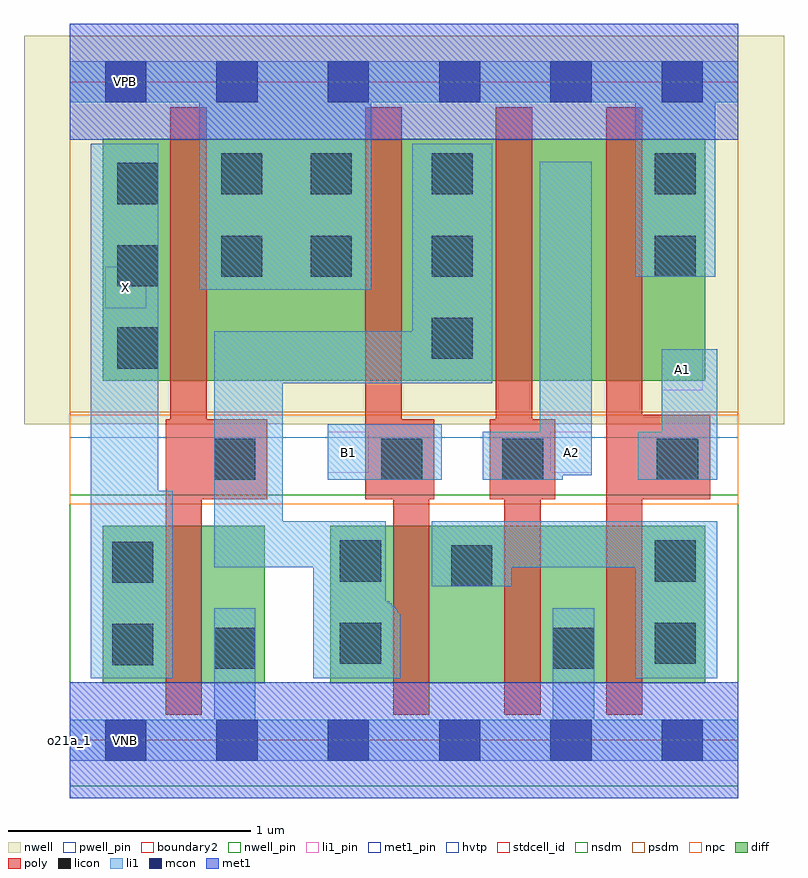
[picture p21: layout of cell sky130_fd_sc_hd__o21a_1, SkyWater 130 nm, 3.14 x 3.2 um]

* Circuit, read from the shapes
.subckt sky130_fd_sc_hd__o21a_1 A1 A2 B1 VGND VNB VPB VPWR X
XM1 VGND n1 X VNB sky130_fd_pr__nfet_01v8 w=0.65 l=0.15
XM2 n2 B1 n1 VNB sky130_fd_pr__nfet_01v8 w=0.65 l=0.15
XM3 VGND A2 n2 VNB sky130_fd_pr__nfet_01v8 w=0.65 l=0.15
XM4 n2 A1 VGND VNB sky130_fd_pr__nfet_01v8 w=0.65 l=0.15
XM5 VPWR n1 X VPB sky130_fd_pr__pfet_01v8_hvt w=1 l=0.15
XM6 n1 B1 VPWR VPB sky130_fd_pr__pfet_01v8_hvt w=1 l=0.15
XM7 n3 A2 n1 VPB sky130_fd_pr__pfet_01v8_hvt w=1 l=0.15
XM8 VPWR A1 n3 VPB sky130_fd_pr__pfet_01v8_hvt w=1 l=0.15
.ends

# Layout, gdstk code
import gdstk
lib = gdstk.Library(unit=1e-6, precision=1e-09)
def R(c, l, rs):  # rectangles x0, y0, x1, y1
    for r in rs: c.add(gdstk.rectangle(r[:2], r[2:], *l))
def A(c, l, x, y, w, h, nx, ny, dx, dy):  # array of equal rectangles
    R(c, l, [(x+i*dx, y+j*dy, x+i*dx+w, y+j*dy+h) for i in range(nx) for j in range(ny)])
def P(c, l, *ps):  # polygons
    for p in ps: c.add(gdstk.Polygon(p, *l))
nwell_pin = (64, 16)
nwell = (64, 20)
diff = (65, 20)
poly = (66, 20)
licon = (66, 44)
li1_pin = (67, 16)
li1 = (67, 20)
mcon = (67, 44)
met1_pin = (68, 16)
met1 = (68, 20)
hvtp = (78, 44)
stdcell_id = (81, 4)
nsdm = (93, 44)
psdm = (94, 20)
npc = (95, 20)
pwell_pin = (122, 16)
boundary2 = (236, 0)

sky130_fd_sc_hd__o21a_1 = lib.new_cell('sky130_fd_sc_hd__o21a_1')
R(sky130_fd_sc_hd__o21a_1, nwell_pin, [(0.145,2.635,0.315,2.805)])
R(sky130_fd_sc_hd__o21a_1, nwell, [(-0.19,1.305,2.95,2.91)])
R(sky130_fd_sc_hd__o21a_1, diff, [(0.135,0.235,0.805,0.885), (1.075,0.235,2.625,0.885), (0.135,1.485,2.625,2.485)])
P(sky130_fd_sc_hd__o21a_1, poly, [(0.815,1.325),(0.565,1.325),(0.565,2.615),(0.415,2.615),(0.415,1.325),(0.395,1.325),(0.395,0.105),(0.545,0.105),(0.545,0.995),(0.815,0.995)],
  [(1.505,1.325),(1.37,1.325),(1.37,2.615),(1.22,2.615),(1.22,0.995),(1.335,0.995),(1.335,0.105),(1.485,0.105),(1.485,0.995),(1.505,0.995)],
  [(2.005,1.325),(1.91,1.325),(1.91,2.615),(1.76,2.615),(1.76,1.325),(1.735,1.325),(1.735,0.995),(1.795,0.995),(1.795,0.105),(1.945,0.105),(1.945,0.995),(2.005,0.995)],
  [(2.645,1.345),(2.365,1.345),(2.365,2.615),(2.215,2.615),(2.215,0.105),(2.365,0.105),(2.365,0.995),(2.645,0.995)])
A(sky130_fd_sc_hd__o21a_1, licon, 0.195, 1.535, 0.17, 0.17, 1, 3, 0, 0.34)
A(sky130_fd_sc_hd__o21a_1, licon, 1.495, 1.575, 0.17, 0.17, 1, 3, 0, 0.34)
R(sky130_fd_sc_hd__o21a_1, licon, [(0.595,0.295,0.765,0.465), (1.995,0.295,2.165,0.465), (0.175,0.31,0.345,0.48), (1.115,0.315,1.285,0.485), (2.415,0.315,2.585,0.485), (1.575,0.635,1.745,0.805), (0.175,0.65,0.345,0.82), (1.115,0.655,1.285,0.825), (2.415,0.655,2.585,0.825), (0.595,1.075,0.765,1.245), (1.285,1.075,1.455,1.245), (1.785,1.075,1.955,1.245), (2.425,1.075,2.595,1.245), (0.625,1.915,0.795,2.085), (0.995,1.915,1.165,2.085), (2.415,1.915,2.585,2.085), (0.625,2.255,0.795,2.425), (0.995,2.255,1.165,2.425), (2.415,2.255,2.585,2.425)])
R(sky130_fd_sc_hd__o21a_1, li1_pin, [(1.065,1.105,1.235,1.275), (1.985,1.105,2.155,1.275), (2.445,1.445,2.615,1.615), (0.145,1.785,0.315,1.955)])
R(sky130_fd_sc_hd__o21a_1, li1, [(1.065,1.075,1.535,1.305)])
P(sky130_fd_sc_hd__o21a_1, li1, [(2.76,0.085),(2.165,0.085),(2.165,0.545),(1.995,0.545),(1.995,0.085),(0.765,0.085),(0.765,0.545),(0.595,0.545),(0.595,0.085),(0,0.085),(0,-0.085),(2.76,-0.085)],
  [(2.76,2.805),(0,2.805),(0,2.635),(0.535,2.635),(0.535,1.86),(1.245,1.86),(1.245,2.635),(2.335,2.635),(2.335,1.915),(2.665,1.915),(2.665,2.635),(2.76,2.635)],
  [(0.425,1.03),(0.365,1.03),(0.365,2.465),(0.085,2.465),(0.085,0.255),(0.425,0.255)],
  [(1.745,2.465),(1.415,2.465),(1.415,1.69),(0.595,1.69),(0.595,0.715),(1.005,0.715),(1.005,0.255),(1.365,0.255),(1.365,0.52),(1.36,0.52),(1.36,0.525),(1.355,0.525),(1.355,0.535),(1.35,0.535),(1.35,0.54),(1.345,0.54),(1.345,0.55),(1.34,0.55),(1.34,0.555),(1.33,0.555),(1.33,0.565),(1.32,0.565),(1.32,0.575),(1.305,0.575),(1.305,0.905),(0.88,0.905),(0.88,1.475),(1.745,1.475)],
  [(2.155,2.39),(1.94,2.39),(1.94,1.275),(1.705,1.275),(1.705,1.075),(2.035,1.075),(2.035,1.095),(2.155,1.095)],
  [(2.675,1.615),(2.445,1.615),(2.445,1.275),(2.345,1.275),(2.345,1.075),(2.675,1.075)],
  [(2.675,0.905),(1.495,0.905),(1.495,0.635),(1.825,0.635),(1.825,0.715),(2.335,0.715),(2.335,0.255),(2.675,0.255)])
A(sky130_fd_sc_hd__o21a_1, mcon, 0.145, -0.085, 0.17, 0.17, 6, 2, 0.46, 2.72)
R(sky130_fd_sc_hd__o21a_1, met1_pin, [(0.145,-0.085,0.315,0.085), (0.145,2.635,0.315,2.805)])
R(sky130_fd_sc_hd__o21a_1, hvtp, [(0,1.25,2.76,2.72)])
R(sky130_fd_sc_hd__o21a_1, stdcell_id, [(0,0,2.76,2.72)])
R(sky130_fd_sc_hd__o21a_1, nsdm, [(0,-0.19,2.76,1.015)])
R(sky130_fd_sc_hd__o21a_1, psdm, [(0,1.355,2.76,2.91)])
R(sky130_fd_sc_hd__o21a_1, npc, [(0,0.975,2.76,1.345)])
R(sky130_fd_sc_hd__o21a_1, pwell_pin, [(0.145,-0.085,0.315,0.085)])
R(sky130_fd_sc_hd__o21a_1, boundary2, [(0,0,2.76,2.72)])
sky130_fd_sc_hd__o21a_1.add(gdstk.FlexPath([(0,2.72),(2.76,2.72)], 0.48, ends="flush", simple_path=True, layer=68, datatype=20))  # met1
sky130_fd_sc_hd__o21a_1.add(gdstk.FlexPath([(0,0),(2.76,0)], 0.48, ends="flush", simple_path=True, layer=68, datatype=20))  # met1
sky130_fd_sc_hd__o21a_1.add(gdstk.Label('X', (0.23,1.87), layer=67, texttype=5))
sky130_fd_sc_hd__o21a_1.add(gdstk.Label('A1', (2.53,1.53), layer=67, texttype=5))
sky130_fd_sc_hd__o21a_1.add(gdstk.Label('B1', (1.15,1.19), layer=67, texttype=5))
sky130_fd_sc_hd__o21a_1.add(gdstk.Label('A2', (2.07,1.19), layer=67, texttype=5))
sky130_fd_sc_hd__o21a_1.add(gdstk.Label('VPB', (0.23,2.72), layer=64, texttype=5))
sky130_fd_sc_hd__o21a_1.add(gdstk.Label('VNB', (0.23,0), layer=64, texttype=59))
sky130_fd_sc_hd__o21a_1.add(gdstk.Label('VGND', (0.23,0), layer=68, texttype=5))
sky130_fd_sc_hd__o21a_1.add(gdstk.Label('VPWR', (0.23,2.72), layer=68, texttype=5))
sky130_fd_sc_hd__o21a_1.add(gdstk.Label('o21a_1', (0,0), layer=83, texttype=44))

lib.write_gds('sky130_fd_sc_hd__o21a_1.gds')
